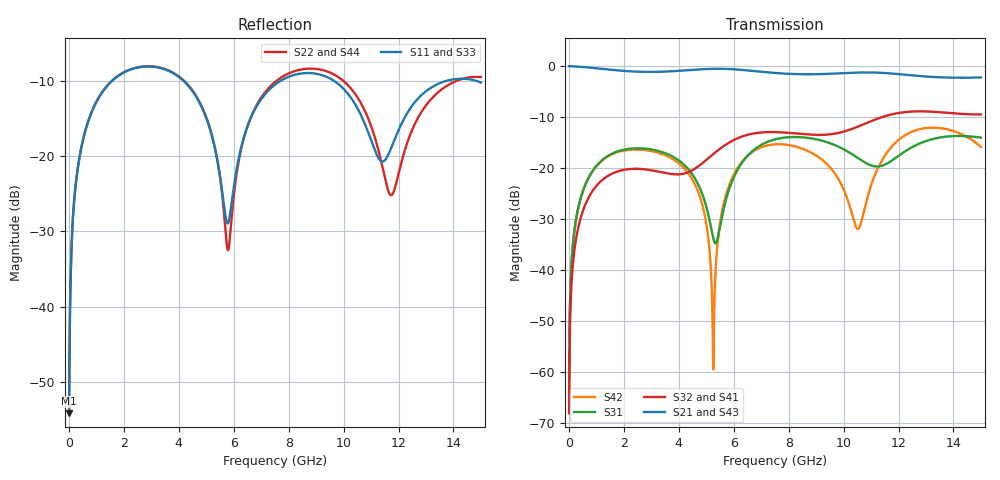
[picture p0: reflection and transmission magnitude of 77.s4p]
! Created with skrf 1.8.0 (http://scikit-rf.org).
# GHz S RI R 50.0
!freq ReS11 ImS11 ReS12 ImS12 ReS13 ImS13
! ReS14 ImS14
! ReS21 ImS21 ReS22 ImS22 ReS23 ImS23
! ReS24 ImS24
! ReS31 ImS31 ReS32 ImS32 ReS33 ImS33
! ReS34 ImS34
! ReS41 ImS41 ReS42 ImS42 ReS43 ImS43
! ReS44 ImS44
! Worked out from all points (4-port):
!   2499 points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, 5 MHz to 15 GHz, reference 50 ohm
!   strongest paths, dB at 5 MHz, 3.476 GHz, 7.19 GHz, 11.1 GHz, 15 GHz:
!     S21: 0.0, -1.1, -1.2, -1.3, -2.2
!     S43: 0.0, -1.1, -1.2, -1.3, -2.2
!     S32: -68.2, -21.0, -13.0, -10.6, -9.5
!     S41: -68.2, -21.0, -13.0, -10.6, -9.5
!     S31: -64.2, -17.0, -15.0, -19.6, -14.1
!     S42: -64.2, -17.4, -15.6, -22.0, -15.9
!   lowest |S11| = -54.2 dB at 5 MHz (marker M1), VSWR 1.00, Z = 50.2 + j0.119 ohm
!   |S11| at or under -10 dB: start of sweep to 1.57 GHz; 4.169 GHz to 7.707 GHz (3.538 GHz wide, 59.6 % of centre); 9.649 GHz to 13.75 GHz (4.102 GHz wide, 35.1 % of centre) (the widest 3 of 4)
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0.005  0.00155 0.00118  0.9984 -0.00303  7.76e-05 0.000609  -7.54e-05 -0.000383
       0.9984 -0.00303  0.00155 0.00118  -7.54e-05 -0.000383  7.75e-05 0.000609
       7.76e-05 0.000609  -7.54e-05 -0.000383  0.00155 0.00118  0.9984 -0.00303
       -7.54e-05 -0.000383  7.75e-05 0.000609  0.9984 -0.00303  0.00155 0.00118
0.3126303  0.0219 0.0781  0.9701 -0.1886  0.0101 0.0363  -0.00824 -0.0227
           0.9701 -0.1886  0.022 0.0781  -0.00824 -0.0227  0.00963 0.0364
           0.0101 0.0363  -0.00824 -0.0227  0.0219 0.0781  0.9701 -0.1886
           -0.00824 -0.0227  0.00963 0.0364  0.9701 -0.1886  0.022 0.0781
1.519383  0.2469 0.1873  0.5971 -0.7005  0.1209 0.0625  -0.0854 -0.014
          0.5971 -0.7005  0.2488 0.1862  -0.0855 -0.0139  0.1146 0.0701
          0.1209 0.0625  -0.0855 -0.0139  0.2469 0.1873  0.597 -0.7005
          -0.0854 -0.014  0.1146 0.0701  0.597 -0.7005  0.2489 0.1861
5.252188  0.066 -0.1072  -0.8765 -0.3409  -0.0175 -0.0109  -0.0457 0.129
          -0.8765 -0.3409  0.0558 -0.1146  -0.0449 0.1293  0.00105 -6.3e-05
          -0.0175 -0.0109  -0.0449 0.1293  0.0653 -0.1072  -0.8766 -0.3406
          -0.0457 0.129  0.00105 -6.3e-05  -0.8766 -0.3406  0.0564 -0.1142
6.177574  0.0587 0.076  -0.9106 0.1524  0.0437 0.0898  0.046 0.192
          -0.9106 0.1524  0.0475 0.0784  0.047 0.192  0.0404 0.0955
          0.0437 0.0898  0.047 0.192  0.0575 0.077  -0.9104 0.1529
          0.046 0.192  0.0404 0.0955  -0.9104 0.1529  0.0492 0.079
9.022509  0.35 -0.0347  0.0317 0.8324  0.1234 -0.1452  0.1996 -0.065
          0.0317 0.8324  0.3749 -0.0549  0.2001 -0.0677  0.1275 -0.0312
          0.1234 -0.1452  0.2001 -0.0677  0.3531 -0.0315  0.032 0.831
          0.1996 -0.065  0.1275 -0.0312  0.032 0.831  0.3785 -0.0585
15  0.2996 -0.0715  -0.0142 -0.7739  0.1072 -0.1669  -0.3283 0.0651
    -0.0142 -0.7739  0.3319 -0.0447  -0.3281 0.071  0.1384 -0.0816
    0.1072 -0.1669  -0.3281 0.071  0.3011 -0.072  -0.0154 -0.773
    -0.3283 0.0651  0.1384 -0.0816  -0.0154 -0.773  0.3353 -0.0459
